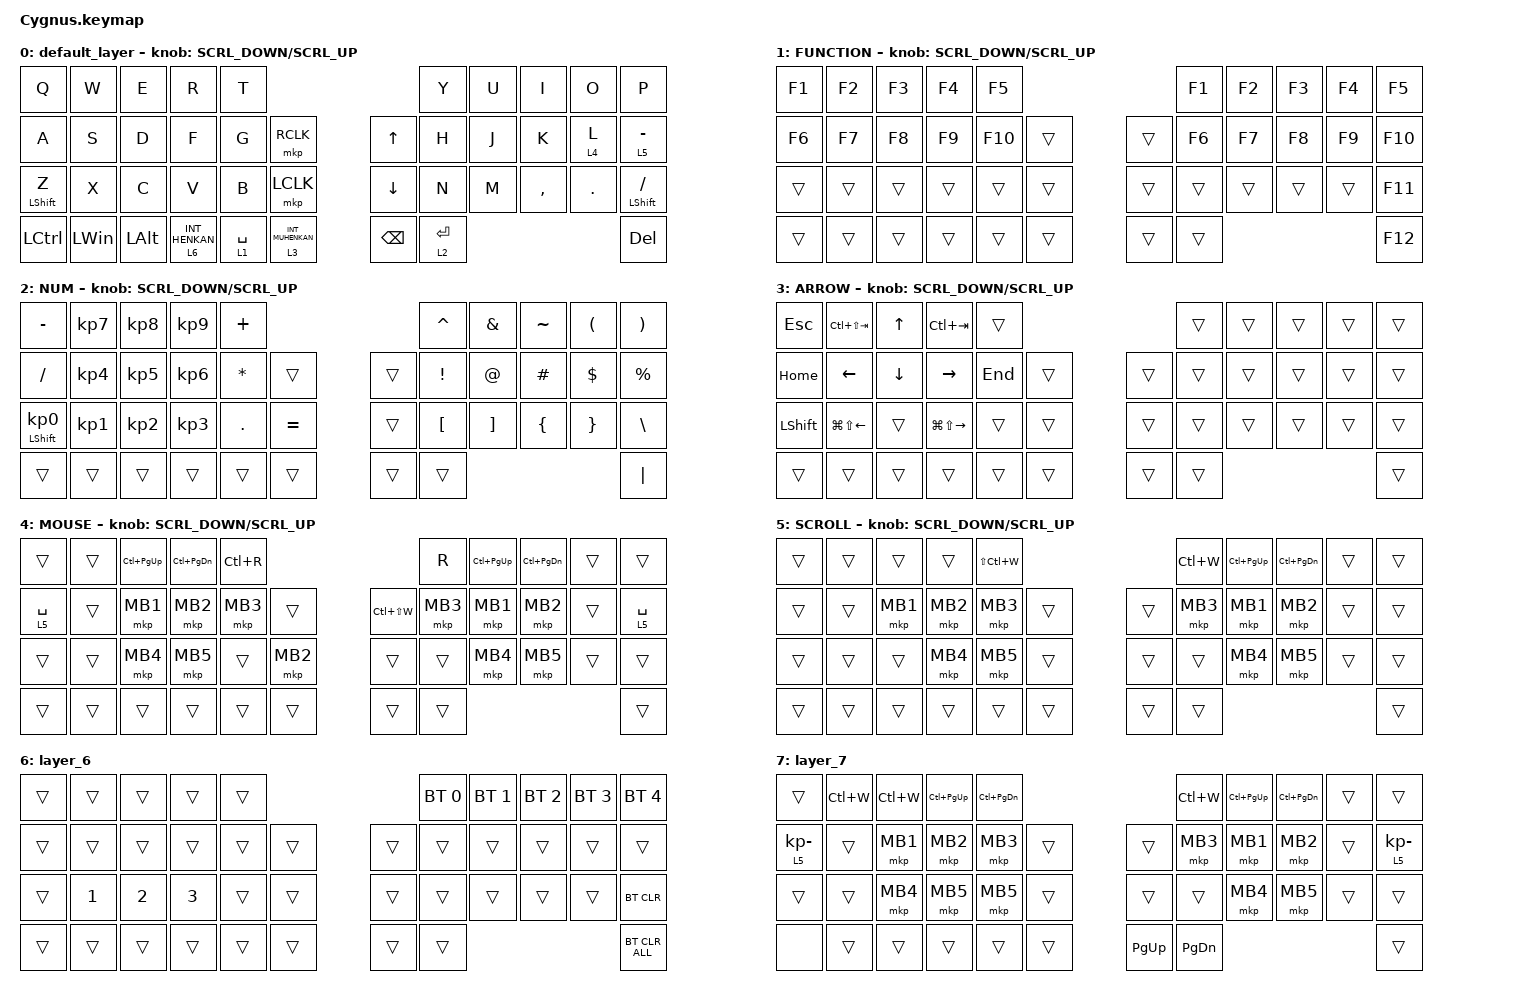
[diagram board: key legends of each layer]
#include <behaviors.dtsi>
#include <dt-bindings/zmk/bt.h>
#include <dt-bindings/zmk/keys.h>
#include <dt-bindings/zmk/pointing.h>

#define ZMK_MOUSE_DEFAULT_SCRL_VAL 25
#define MOUSE 4
#define SCROLL 5
#define NUM 6

&mt {
    flavor = "balanced";
    quick-tap-ms = <0>;
};

/ {
    combos {
        compatible = "zmk,combos";

        double_quotation {
            bindings = <&kp DOUBLE_QUOTES>;
            key-positions = <20 21>;
        };
    };

    macros {
        to_layer_0: to_layer_0 {
            compatible = "zmk,behavior-macro-one-param";
            #binding-cells = <1>;
            bindings = <&to 0 &macro_param_1to1 &kp MACRO_PLACEHOLDER>;
            label = "TO_LAYER_0";
        };
    };

    behaviors {
        lt_to_layer_0: lt_to_layer_0 {
            compatible = "zmk,behavior-hold-tap";
            label = "LAYER_TAP_TO_0";
            bindings = <&mo>, <&to_layer_0>;

            #binding-cells = <2>;
            tapping-term-ms = <200>;
        };

        ROTATE: ROTATE {
            compatible = "zmk,behavior-sensor-rotate-var";
            label = "ROTATE";
            #sensor-binding-cells = <2>;
            bindings = <&msc>, <&msc>;

            tap-ms = <20>;
        };
    };

    keymap {
        compatible = "zmk,keymap";

        default_layer {
            bindings = <
&kp Q             &kp W         &kp E         &kp R                        &kp T                                                           &kp Y        &kp U  &kp I      &kp O       &kp P
&kp A             &kp S         &kp D         &kp F                        &kp G        &mkp RCLK                          &kp UP_ARROW    &kp H        &kp J  &kp K      &lt 4 L     &lt 5 MINUS
&mt LEFT_SHIFT Z  &kp X         &kp C         &kp V                        &kp B        &mkp LCLK                          &kp DOWN_ARROW  &kp N        &kp M  &kp COMMA  &kp PERIOD  &mt LEFT_SHIFT SLASH
&kp LCTRL         &kp LEFT_WIN  &kp LEFT_ALT  &lt_to_layer_0 6 INT_HENKAN  &lt 1 SPACE  &lt_to_layer_0 3 INT_MUHENKAN      &kp BACKSPACE   &lt 2 ENTER                                &kp DEL
            >;

            sensor-bindings = <&ROTATE SCRL_DOWN SCRL_UP>;
        };

        FUNCTION {
            bindings = <
&kp F1  &kp F2  &kp F3  &kp F4  &kp F5                       &kp F1  &kp F2  &kp F3  &kp F4  &kp F5
&kp F6  &kp F7  &kp F8  &kp F9  &kp F10  &trans      &trans  &kp F6  &kp F7  &kp F8  &kp F9  &kp F10
&trans  &trans  &trans  &trans  &trans   &trans      &trans  &trans  &trans  &trans  &trans  &kp F11
&trans  &trans  &trans  &trans  &trans   &trans      &trans  &trans                          &kp F12
            >;

            sensor-bindings = <&ROTATE SCRL_DOWN SCRL_UP>;
        };

        NUM {
            bindings = <
&kp MINUS                   &kp KP_NUMBER_7  &kp KP_NUMBER_8  &kp KP_NUMBER_9  &kp PLUS                             &kp CARET         &kp AMPERSAND      &kp TILDE       &kp LEFT_PARENTHESIS  &kp RIGHT_PARENTHESIS
&kp SLASH                   &kp KP_NUMBER_4  &kp KP_NUMBER_5  &kp KP_NUMBER_6  &kp ASTERISK  &trans         &trans  &kp EXCLAMATION   &kp AT_SIGN        &kp HASH        &kp DOLLAR            &kp PERCENT
&mt LEFT_SHIFT KP_NUMBER_0  &kp KP_NUMBER_1  &kp KP_NUMBER_2  &kp KP_NUMBER_3  &kp PERIOD    &kp EQUAL      &trans  &kp LEFT_BRACKET  &kp RIGHT_BRACKET  &kp LEFT_BRACE  &kp RIGHT_BRACE       &kp BACKSLASH
&trans                      &trans           &trans           &trans           &trans        &trans         &trans  &trans                                                                     &kp PIPE
            >;

            sensor-bindings = <&ROTATE SCRL_DOWN SCRL_UP>;
        };

        ARROW {
            bindings = <
&kp ESCAPE      &kp LC(LS(TAB))         &kp UP_ARROW    &kp LC(TAB)              &trans                       &trans  &trans  &trans  &trans  &trans
&kp HOME        &kp LEFT_ARROW          &kp DOWN_ARROW  &kp RIGHT_ARROW          &kp END  &trans      &trans  &trans  &trans  &trans  &trans  &trans
&kp LEFT_SHIFT  &kp LG(LS(LEFT_ARROW))  &trans          &kp LG(LS(RIGHT_ARROW))  &trans   &trans      &trans  &trans  &trans  &trans  &trans  &trans
&trans          &trans                  &trans          &trans                   &trans   &trans      &trans  &trans                          &trans
            >;

            sensor-bindings = <&ROTATE SCRL_DOWN SCRL_UP>;
        };

        MOUSE {
            bindings = <
&trans       &trans  &kp LC(PAGE_UP)  &kp LC(PAGE_DOWN)  &kp LC(R)                               &kp R     &kp LC(PAGE_UP)  &kp LC(PAGE_DOWN)  &trans  &trans
&lt 5 SPACE  &trans  &mkp MB1         &mkp MB2           &mkp MB3   &trans        &kp LC(LS(W))  &mkp MB3  &mkp MB1         &mkp MB2           &trans  &lt 5 SPACE
&trans       &trans  &mkp MB4         &mkp MB5           &trans     &mkp MB2      &trans         &trans    &mkp MB4         &mkp MB5           &trans  &trans
&trans       &trans  &trans           &trans             &trans     &trans        &trans         &trans                                                &trans
            >;

            sensor-bindings = <&ROTATE SCRL_DOWN SCRL_UP>;
        };

        SCROLL {
            bindings = <
&trans  &trans  &trans    &trans    &kp LS(LC(W))                      &kp LC(W)  &kp LC(PAGE_UP)  &kp LC(PAGE_DOWN)  &trans  &trans
&trans  &trans  &mkp MB1  &mkp MB2  &mkp MB3       &trans      &trans  &mkp MB3   &mkp MB1         &mkp MB2           &trans  &trans
&trans  &trans  &trans    &mkp MB4  &mkp MB5       &trans      &trans  &trans     &mkp MB4         &mkp MB5           &trans  &trans
&trans  &trans  &trans    &trans    &trans         &trans      &trans  &trans                                                 &trans
            >;

            sensor-bindings = <&ROTATE SCRL_DOWN SCRL_UP>;
        };

        layer_6 {
            bindings = <
&trans  &trans        &trans        &trans        &trans                      &bt BT_SEL 0  &bt BT_SEL 1  &bt BT_SEL 2  &bt BT_SEL 3  &bt BT_SEL 4
&trans  &trans        &trans        &trans        &trans  &trans      &trans  &trans        &trans        &trans        &trans        &trans
&trans  &kp NUMBER_1  &kp NUMBER_2  &kp NUMBER_3  &trans  &trans      &trans  &trans        &trans        &trans        &trans        &bt BT_CLR
&trans  &trans        &trans        &trans        &trans  &trans      &trans  &trans                                                  &bt BT_CLR_ALL
            >;
        };

        layer_7 {
            bindings = <
&trans                     &kp LC(W)  &kp LC(W)  &kp LC(PAGE_UP)  &kp LC(PAGE_DOWN)                           &kp LC(W)      &kp LC(PAGE_UP)  &kp LC(PAGE_DOWN)  &trans  &trans
&lt_to_layer_0 5 KP_MINUS  &trans     &mkp MB1   &mkp MB2         &mkp MB3           &trans      &trans       &mkp MB3       &mkp MB1         &mkp MB2           &trans  &lt_to_layer_0 5 KP_MINUS
&trans                     &trans     &mkp MB4   &mkp MB5         &mkp MB5           &trans      &trans       &trans         &mkp MB4         &mkp MB5           &trans  &trans
&none                      &trans     &trans     &trans           &trans             &trans      &kp PAGE_UP  &kp PAGE_DOWN                                              &trans
            >;
        };
    };
};
